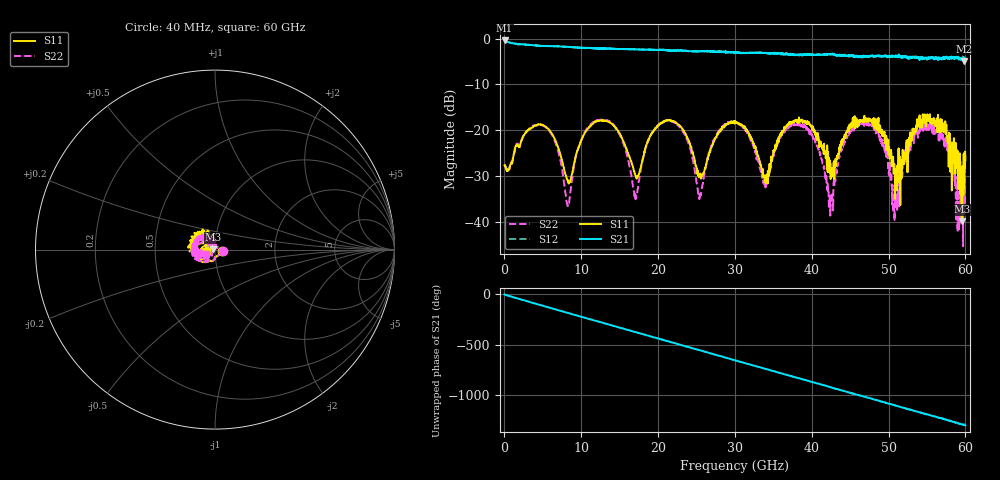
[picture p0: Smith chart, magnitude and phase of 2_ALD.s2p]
! File created by 'SoftPlot +Plus+ Measurement Management Software'
! SoftPlot +Plus+ Measurement Management Software
! Start 40.000000 MHz  Stop 60.000000 GHz  Points 1601
# MHZ S RI R 50
! S-Parameter data, F S11 S21 S12 S22
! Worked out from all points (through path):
!   1601 points, 40 MHz to 60 GHz, reference 50 ohm
!   highest |S21| = -0.41 dB at 40 MHz (marker M1); lowest = -4.9 dB at 59.85 GHz (marker M2)
!   group delay of S21, straight-line fit = 60 ps
!   lowest |S11| = -39.8 dB at 59.51 GHz (marker M3), VSWR 1.02, Z = 49 + j0.221 ohm
!   |S11| at or under -10 dB: start of sweep to end of sweep
!   |S22| runs from -45.3 to -17.6 dB; largest |S21 - S12| = 0.087
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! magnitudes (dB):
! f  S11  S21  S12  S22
! 40 MHz  -27.6  -0.4  -0.4  -27.4
! 5.137 GHz  -19.0  -1.6  -1.6  -19.1
! 8.284 GHz  -30.9  -1.8  -1.8  -36.4
! 10.05 GHz  -22.1  -2.1  -2.0  -22.0
! 13.98 GHz  -18.6  -2.2  -2.2  -18.4
! 17.09 GHz  -29.9  -2.3  -2.3  -35.0
! 20.05 GHz  -19.0  -2.5  -2.4  -18.9
! 23.27 GHz  -19.9  -2.7  -2.7  -20.4
! 25.45 GHz  -29.6  -2.8  -2.8  -34.2
! 30.02 GHz  -17.9  -3.0  -3.0  -18.1
! 33.92 GHz  -30.8  -3.2  -3.1  -31.7
! 36.84 GHz  -18.8  -3.4  -3.4  -19.3
! 40.03 GHz  -19.1  -3.4  -3.6  -20.8
! 42.5 GHz  -29.3  -3.4  -3.4  -34.4
! 45.91 GHz  -17.8  -3.9  -3.8  -19.0
! 50.03 GHz  -24.2  -3.9  -3.8  -29.6
! 50.93 GHz  -28.4  -3.7  -3.9  -36.7
! 52.92 GHz  -22.2  -4.1  -4.0  -23.5
! 55.39 GHz  -16.5  -4.2  -4.4  -19.3
! 59.51 GHz  -39.8  -4.6  -4.6  -36.0
! 59.85 GHz  -24.9  -4.9  -4.5  -28.4
! 60 GHz  -26.5  -4.6  -4.9  -25.1
